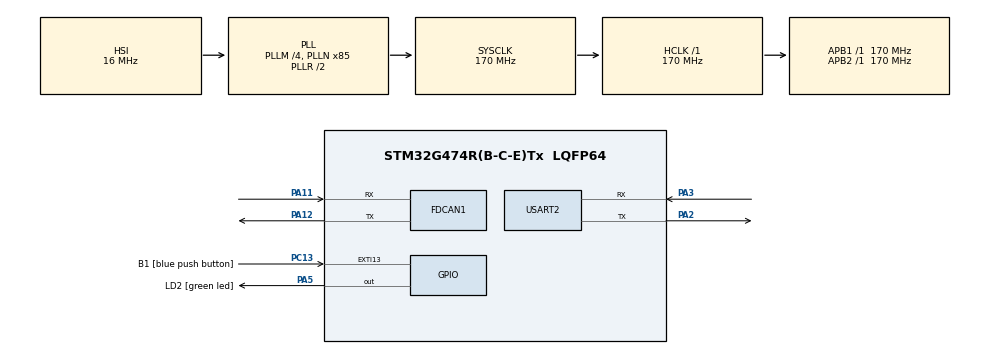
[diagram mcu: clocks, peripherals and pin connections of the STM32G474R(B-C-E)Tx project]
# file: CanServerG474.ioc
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FDCAN1.CalculateBaudRateNominal=100117
FDCAN1.CalculateTimeBitNominal=9988
FDCAN1.CalculateTimeQuantumNominal=3329.4117647058824
FDCAN1.ClockDivider=FDCAN_CLOCK_DIV2
FDCAN1.NominalPrescaler=283
FREERTOS.BinarySemaphores01=semTxCan,Dynamic,NULL,Available
FREERTOS.Queues01=queueRxCan,16,CanMsg,0,Dynamic,NULL,NULL
FREERTOS.Tasks01=taskCanServer,24,128,startTaskCanServer,Default,NULL,Dynamic,NULL,NULL;taskCanRx,24,128,startTaskCanRx,Default,NULL,Dynamic,NULL,NULL;taskCanTx,24,128,startTaskCanTx,Default,NULL,Dynamic,NULL,NULL
Mcu.Family=STM32G4
Mcu.Name=STM32G474R(B-C-E)Tx
Mcu.Package=LQFP64
NVIC.EXTI15_10_IRQn=true\:5\:0\:false\:false\:true\:true\:true\:true\:true
NVIC.FDCAN1_IT0_IRQn=true\:5\:0\:false\:false\:true\:true\:true\:true\:true
NVIC.FDCAN1_IT1_IRQn=true\:5\:0\:false\:false\:true\:true\:true\:true\:true
NVIC.PriorityGroup=NVIC_PRIORITYGROUP_4
NVIC.TIM6_DAC_IRQn=true\:15\:0\:false\:false\:true\:false\:false\:true\:true
NVIC.TimeBase=TIM6_DAC_IRQn
NVIC.TimeBaseIP=TIM6
PA11.GPIO_PuPd=GPIO_PULLUP
PA11.GPIO_Speed=GPIO_SPEED_FREQ_VERY_HIGH
PA11.Mode=FDCAN_Activate
PA11.Signal=FDCAN1_RX
PA12.GPIO_PuPd=GPIO_PULLUP
PA12.GPIO_Speed=GPIO_SPEED_FREQ_VERY_HIGH
PA12.Mode=FDCAN_Activate
PA12.Signal=FDCAN1_TX
PA13.GPIO_Label=T_SWDIO
PA13.Mode=Trace_Asynchronous_SW
PA13.Signal=SYS_JTMS-SWDIO
PA14.GPIO_Label=T_SWCLK
PA14.Mode=Trace_Asynchronous_SW
PA14.Signal=SYS_JTCK-SWCLK
PA2.Mode=Asynchronous
PA2.Signal=USART2_TX
PA3.Mode=Asynchronous
PA3.Signal=USART2_RX
PA5.GPIO_Label=LD2 [green led]
PA5.Signal=GPIO_Output
PB3.GPIO_Label=T_SWO
PB3.Mode=Trace_Asynchronous_SW
PB3.Signal=SYS_JTDO-SWO
PC13.GPIO_Label=B1 [blue push button]
PC13.Signal=GPXTI13
PC14-OSC32_IN.GPIO_Label=RCC_OSC32_IN
PC14-OSC32_IN.Signal=RCC_OSC32_IN
PC15-OSC32_OUT.GPIO_Label=RCC_OSC32_OUT
PC15-OSC32_OUT.Signal=RCC_OSC32_OUT
PF0-OSC_IN.GPIO_Label=RCC_OSC_IN
PF0-OSC_IN.Signal=RCC_OSC_IN
PF1-OSC_OUT.GPIO_Label=RCC_OSC_OUT
PF1-OSC_OUT.Signal=RCC_OSC_OUT
ProjectManager.HeapSize=0x200
ProjectManager.StackSize=0x400
ProjectManager.TargetToolchain=STM32CubeIDE
RCC.ADC12Freq_Value=170000000
RCC.ADC345Freq_Value=170000000
RCC.AHBFreq_Value=170000000
RCC.APB1Freq_Value=170000000
RCC.APB1TimFreq_Value=170000000
RCC.APB2Freq_Value=170000000
RCC.APB2TimFreq_Value=170000000
RCC.CortexFreq_Value=170000000
RCC.EXTERNAL_CLOCK_VALUE=12288000
RCC.HCLKFreq_Value=170000000
RCC.HSE_VALUE=24000000
RCC.HSI48_VALUE=48000000
RCC.HSI_VALUE=16000000
RCC.LSE_VALUE=32768
RCC.PLLM=RCC_PLLM_DIV4
RCC.PLLN=85
RCC.RTCClockSelection=RCC_RTCCLKSOURCE_LSE
RCC.SYSCLKFreq_VALUE=170000000
RCC.SYSCLKSource=RCC_SYSCLKSOURCE_PLLCLK
RCC.USBFreq_Value=170000000
RCC.VCOOutputFreq_Value=340000000
USART2.VirtualMode-Asynchronous=VM_ASYNC
VP_FREERTOS_VS_CMSIS_V2.Mode=CMSIS_V2
VP_SYS_VS_DBSignals.Mode=DisableDeadBatterySignals
VP_SYS_VS_tim6.Mode=TIM6
board=NUCLEO-G474RE

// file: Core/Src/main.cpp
/* USER CODE BEGIN Header */
/**
 ******************************************************************************
 * @file           : main.c
 * @brief          : Main program body
 ******************************************************************************
 * @attention
 *
 * Copyright (c) 2024 STMicroelectronics.
 * All rights reserved.
 *
 * This software is licensed under terms that can be found in the LICENSE file
 * in the root directory of this software component.
 * If no LICENSE file comes with this software, it is provided AS-IS.
 *
 ******************************************************************************
 */
/* USER CODE END Header */
#include "main.h"
#include "cmsis_os.h"

/* USER CODE BEGIN Includes */

#include "../../CanServer/can_server.h"
#include "../../CanServer/can_msg.h"

/* USER CODE END Includes */

FDCAN_HandleTypeDef hfdcan1;

UART_HandleTypeDef huart2;

/* Definitions for taskCanServer */
osThreadId_t taskCanServerHandle;
const osThreadAttr_t taskCanServer_attributes = { .name = "taskCanServer",
		.stack_size = 128 * 4, .priority = (osPriority_t) osPriorityNormal };
/* Definitions for taskCanRx */
osThreadId_t taskCanRxHandle;
const osThreadAttr_t taskCanRx_attributes = { .name = "taskCanRx", .stack_size =
		128 * 4, .priority = (osPriority_t) osPriorityNormal };
/* Definitions for taskCanTx */
osThreadId_t taskCanTxHandle;
const osThreadAttr_t taskCanTx_attributes = { .name = "taskCanTx", .stack_size =
		128 * 4, .priority = (osPriority_t) osPriorityNormal };
/* Definitions for queueRxCan */
osMessageQueueId_t queueRxCanHandle;
const osMessageQueueAttr_t queueRxCan_attributes = {
  .name = "queueRxCan"
};
/* Definitions for semTxCan */
osSemaphoreId_t semTxCanHandle;
const osSemaphoreAttr_t semTxCan_attributes = {
  .name = "semTxCan"
};

void SystemClock_Config(void);
static void MX_GPIO_Init(void);
static void MX_FDCAN1_Init(void);
static void MX_USART2_UART_Init(void);
void startTaskCanServer(void *argument);
void startTaskCanRx(void *argument);
void startTaskCanTx(void *argument);

/* USER CODE BEGIN 0 */

int _write(int file, char *data, int len)
{
	HAL_UART_Transmit(&huart2, (uint8_t*) data, len, 100);
	return len;
}

CanServer g_canServer;

/* USER CODE END 0 */

int main(void) {

	/* MCU Configuration--------------------------------------------------------*/

	/* Reset of all peripherals, Initializes the Flash interface and the Systick. */
	HAL_Init();

	/* Configure the system clock */
	SystemClock_Config();

	/* Initialize all configured peripherals */
	MX_GPIO_Init();
	MX_FDCAN1_Init();
	MX_USART2_UART_Init();
	/* USER CODE BEGIN 2 */

	g_canServer.setHandleCan(&hfdcan1);
	g_canServer.setHandleQueueRxCan(&queueRxCanHandle);
	g_canServer.setHandleSemaphoreTxCan(&semTxCanHandle);

	if (g_canServer.init() != CanServer::Error::Ok)
	{
		Error_Handler();
	}

	/* USER CODE END 2 */

	/* Init scheduler */
	osKernelInitialize();

	/* USER CODE BEGIN RTOS_SEMAPHORES */
	/* add semaphores, ... */
	  /* creation of semTxCan */
	semTxCanHandle = osSemaphoreNew(1, 1, &semTxCan_attributes);

	/* USER CODE BEGIN RTOS_SEMAPHORES */
	/* add semaphores, ... */
	/* USER CODE END RTOS_SEMAPHORES */

	/* Create the queue(s) */
	/* creation of queueRxCan */
	queueRxCanHandle = osMessageQueueNew (16, sizeof(CanMsg), &queueRxCan_attributes);

	/* Create the thread(s) */
	/* creation of taskCanServer */
	taskCanServerHandle = osThreadNew(startTaskCanServer, NULL,
			&taskCanServer_attributes);

	/* creation of taskCanRx */
	taskCanRxHandle = osThreadNew(startTaskCanRx, NULL, &taskCanRx_attributes);

	/* creation of taskCanTx */
	taskCanTxHandle = osThreadNew(startTaskCanTx, NULL, &taskCanTx_attributes);

	/* Start scheduler */
	osKernelStart();

	/* We should never get here as control is now taken by the scheduler */

	/* Infinite loop */
	while (1) {

	}
}

void SystemClock_Config(void) {
	RCC_OscInitTypeDef RCC_OscInitStruct = { 0 };
	RCC_ClkInitTypeDef RCC_ClkInitStruct = { 0 };

	/** Configure the main internal regulator output voltage
	 */
	HAL_PWREx_ControlVoltageScaling(PWR_REGULATOR_VOLTAGE_SCALE1_BOOST);

	/** Initializes the RCC Oscillators according to the specified parameters
	 * in the RCC_OscInitTypeDef structure.
	 */
	RCC_OscInitStruct.OscillatorType = RCC_OSCILLATORTYPE_HSI;
	RCC_OscInitStruct.HSIState = RCC_HSI_ON;
	RCC_OscInitStruct.HSICalibrationValue = RCC_HSICALIBRATION_DEFAULT;
	RCC_OscInitStruct.PLL.PLLState = RCC_PLL_ON;
	RCC_OscInitStruct.PLL.PLLSource = RCC_PLLSOURCE_HSI;
	RCC_OscInitStruct.PLL.PLLM = RCC_PLLM_DIV4;
	RCC_OscInitStruct.PLL.PLLN = 85;
	RCC_OscInitStruct.PLL.PLLP = RCC_PLLP_DIV2;
	RCC_OscInitStruct.PLL.PLLQ = RCC_PLLQ_DIV2;
	RCC_OscInitStruct.PLL.PLLR = RCC_PLLR_DIV2;
	if (HAL_RCC_OscConfig(&RCC_OscInitStruct) != HAL_OK) {
		Error_Handler();
	}

	/** Initializes the CPU, AHB and APB buses clocks
	 */
	RCC_ClkInitStruct.ClockType = RCC_CLOCKTYPE_HCLK | RCC_CLOCKTYPE_SYSCLK
			| RCC_CLOCKTYPE_PCLK1 | RCC_CLOCKTYPE_PCLK2;
	RCC_ClkInitStruct.SYSCLKSource = RCC_SYSCLKSOURCE_PLLCLK;
	RCC_ClkInitStruct.AHBCLKDivider = RCC_SYSCLK_DIV1;
	RCC_ClkInitStruct.APB1CLKDivider = RCC_HCLK_DIV1;
	RCC_ClkInitStruct.APB2CLKDivider = RCC_HCLK_DIV1;

	if (HAL_RCC_ClockConfig(&RCC_ClkInitStruct, FLASH_LATENCY_4) != HAL_OK) {
		Error_Handler();
	}
}

static void MX_FDCAN1_Init(void) {

	hfdcan1.Instance = FDCAN1;
	hfdcan1.Init.ClockDivider = FDCAN_CLOCK_DIV2;
	hfdcan1.Init.FrameFormat = FDCAN_FRAME_CLASSIC;
	hfdcan1.Init.Mode = FDCAN_MODE_NORMAL;
	hfdcan1.Init.AutoRetransmission = DISABLE;
	hfdcan1.Init.TransmitPause = DISABLE;
	hfdcan1.Init.ProtocolException = DISABLE;
	hfdcan1.Init.NominalPrescaler = 283;
	hfdcan1.Init.NominalSyncJumpWidth = 1;
	hfdcan1.Init.NominalTimeSeg1 = 1;
	hfdcan1.Init.NominalTimeSeg2 = 1;
	hfdcan1.Init.DataPrescaler = 1;
	hfdcan1.Init.DataSyncJumpWidth = 1;
	hfdcan1.Init.DataTimeSeg1 = 1;
	hfdcan1.Init.DataTimeSeg2 = 1;
	hfdcan1.Init.StdFiltersNbr = 0;
	hfdcan1.Init.ExtFiltersNbr = 0;
	hfdcan1.Init.TxFifoQueueMode = FDCAN_TX_FIFO_OPERATION;
	if (HAL_FDCAN_Init(&hfdcan1) != HAL_OK) {
		Error_Handler();
	}

}

static void MX_USART2_UART_Init(void) {

	huart2.Instance = USART2;
	huart2.Init.BaudRate = 115200;
	huart2.Init.WordLength = UART_WORDLENGTH_8B;
	huart2.Init.StopBits = UART_STOPBITS_1;
	huart2.Init.Parity = UART_PARITY_NONE;
	huart2.Init.Mode = UART_MODE_TX_RX;
	huart2.Init.HwFlowCtl = UART_HWCONTROL_NONE;
	huart2.Init.OverSampling = UART_OVERSAMPLING_16;
	huart2.Init.OneBitSampling = UART_ONE_BIT_SAMPLE_DISABLE;
	huart2.Init.ClockPrescaler = UART_PRESCALER_DIV1;
	huart2.AdvancedInit.AdvFeatureInit = UART_ADVFEATURE_NO_INIT;
	if (HAL_UART_Init(&huart2) != HAL_OK) {
		Error_Handler();
	}
	if (HAL_UARTEx_SetTxFifoThreshold(&huart2, UART_TXFIFO_THRESHOLD_1_8)
			!= HAL_OK) {
		Error_Handler();
	}
	if (HAL_UARTEx_SetRxFifoThreshold(&huart2, UART_RXFIFO_THRESHOLD_1_8)
			!= HAL_OK) {
		Error_Handler();
	}
	if (HAL_UARTEx_DisableFifoMode(&huart2) != HAL_OK) {
		Error_Handler();
	}

}

static void MX_GPIO_Init(void) {
	GPIO_InitTypeDef GPIO_InitStruct = { 0 };

	/* GPIO Ports Clock Enable */
	__HAL_RCC_GPIOC_CLK_ENABLE();
	__HAL_RCC_GPIOF_CLK_ENABLE();
	__HAL_RCC_GPIOA_CLK_ENABLE();
	__HAL_RCC_GPIOB_CLK_ENABLE();

	/*Configure GPIO pin Output Level */
	HAL_GPIO_WritePin(LD2_GPIO_Port, LD2_Pin, GPIO_PIN_RESET);

	/*Configure GPIO pin : B1_Pin */
	GPIO_InitStruct.Pin = B1_Pin;
	GPIO_InitStruct.Mode = GPIO_MODE_IT_RISING;
	GPIO_InitStruct.Pull = GPIO_NOPULL;
	HAL_GPIO_Init(B1_GPIO_Port, &GPIO_InitStruct);

	/*Configure GPIO pin : LD2_Pin */
	GPIO_InitStruct.Pin = LD2_Pin;
	GPIO_InitStruct.Mode = GPIO_MODE_OUTPUT_PP;
	GPIO_InitStruct.Pull = GPIO_NOPULL;
	GPIO_InitStruct.Speed = GPIO_SPEED_FREQ_LOW;
	HAL_GPIO_Init(LD2_GPIO_Port, &GPIO_InitStruct);

	/* EXTI interrupt init*/
	HAL_NVIC_SetPriority(EXTI15_10_IRQn, 5, 0);
	HAL_NVIC_EnableIRQ(EXTI15_10_IRQn);

}

/* USER CODE BEGIN 4 */

void HAL_FDCAN_RxFifo0Callback(FDCAN_HandleTypeDef *hfdcan, uint32_t RxFifo1ITs)
{
	;
}

void HAL_FDCAN_RxFifo1Callback(FDCAN_HandleTypeDef *hfdcan, uint32_t RxFifo1ITs)
{
	;
}

void HAL_FDCAN_TxBufferCompleteCallback(FDCAN_HandleTypeDef *hfdcan, uint32_t BufferIndexes)
{
	if (g_canServer.updateCanTxInterrupt(hfdcan) != CanServer::Error::Ok)
	{
		Error_Handler();
	}
}

/* USER CODE END 4 */

void startTaskCanServer(void *argument) {
	/* USER CODE BEGIN 5 */
	FDCAN_TxHeaderTypeDef txHeader;
	txHeader.Identifier = 0x006;
	txHeader.IdType = FDCAN_STANDARD_ID;
	txHeader.TxFrameType = FDCAN_DATA_FRAME;
	txHeader.DataLength = FDCAN_DLC_BYTES_8;
	txHeader.ErrorStateIndicator = FDCAN_ESI_ACTIVE;
	txHeader.BitRateSwitch = FDCAN_BRS_OFF;
	txHeader.FDFormat = FDCAN_CLASSIC_CAN;
	txHeader.TxEventFifoControl = FDCAN_NO_TX_EVENTS;
	txHeader.MessageMarker = 0;

	uint8_t txData[8] = {'j', 'e', 'j', ' ', 'd', 'r', 'e', 'k'};
	/* Infinite loop */
	for (;;)
	{
		if (g_canServer.sendMsg(txHeader, txData, 8) != CanServer::Error::Ok)
		{
			Error_Handler();
		}
		osDelay(1000);
	}
	/* USER CODE END 5 */
}

void startTaskCanRx(void *argument) {
	/* USER CODE BEGIN startTaskCanRx */
	/* Infinite loop */
	for (;;) {
		osDelay(10000);
	}
	/* USER CODE END startTaskCanRx */
}

void startTaskCanTx(void *argument) {
	/* USER CODE BEGIN startTaskCanTx */
	/* Infinite loop */
	for (;;) {
		osDelay(10000);
	}
	/* USER CODE END startTaskCanTx */
}

void HAL_TIM_PeriodElapsedCallback(TIM_HandleTypeDef *htim) {
	if (htim->Instance == TIM6) {
		HAL_IncTick();
	}
}

void Error_Handler(void) {
	/* USER CODE BEGIN Error_Handler_Debug */
	/* User can add his own implementation to report the HAL error return state */
	__disable_irq();
	osKernelLock();
	while (1)
	{
		HAL_GPIO_TogglePin(LD2_GPIO_Port, LD2_Pin);
		HAL_Delay(100);
	}
	/* USER CODE END Error_Handler_Debug */
}
